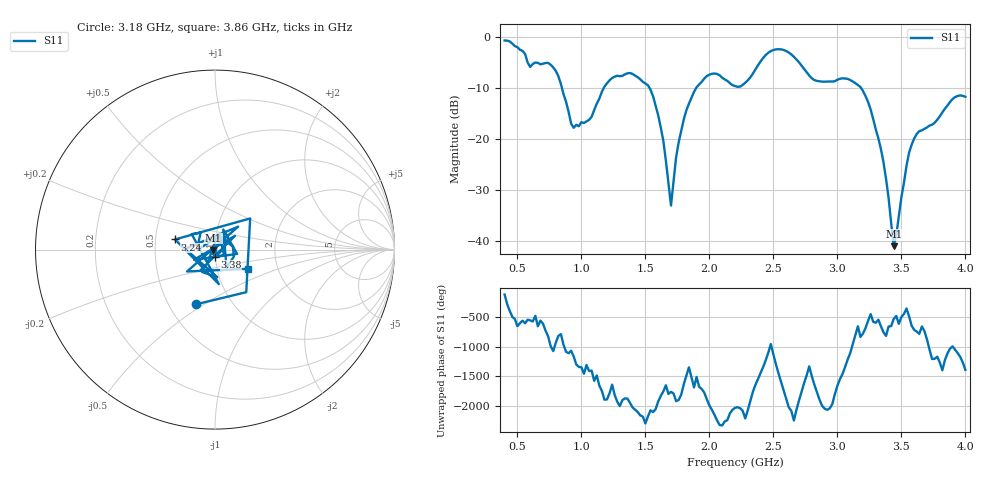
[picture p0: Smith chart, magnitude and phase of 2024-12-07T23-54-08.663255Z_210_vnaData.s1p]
!Created with skrf (http://scikit-rf.org).
# Hz S RI R 50.0
!freq ReS11 ImS11
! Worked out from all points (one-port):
!   181 points, 400 MHz to 4 GHz, reference 50 ohm
!   lowest |S11| = -41.0 dB at 3.44 GHz (marker M1), VSWR 1.02, Z = 49.1 - j0.23 ohm
!   |S11| at or under -10 dB: 847.5 MHz to 1.176 GHz (328.1 MHz wide, 32.4 % of centre); 1.531 GHz to 1.898 GHz (366.4 MHz wide, 21.4 % of centre); 3.184 GHz to end of sweep
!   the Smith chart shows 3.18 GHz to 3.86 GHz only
!   S11 on the Smith chart (normalised r, x): 3.18 GHz: 0.68, -0.46; 3.24 GHz: 0.63, +0.08; 3.38 GHz: 0.99, -0.08; 3.86 GHz: 1.41, -0.32
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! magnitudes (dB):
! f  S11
! 400 MHz  -0.7
! 600 MHz  -5.9
! 760 MHz  -5.5
! 860 MHz  -11.2
! 920 MHz  -17.0
! 980 MHz  -17.5
! 1.08 GHz  -15.7
! 1.2 GHz  -9.1
! 1.3 GHz  -7.7
! 1.54 GHz  -10.4
! 1.64 GHz  -20.4
! 1.7 GHz  -33.0
! 1.76 GHz  -20.7
! 1.84 GHz  -13.1
! 1.96 GHz  -8.2
! 2.2 GHz  -9.6
! 2.48 GHz  -2.8
! 2.66 GHz  -3.9
! 2.82 GHz  -8.5
! 3.1 GHz  -8.5
! 3.18 GHz  -9.8
! 3.24 GHz  -12.8
! 3.38 GHz  -27.8
! 3.44 GHz  -41.0
! 3.56 GHz  -22.7
! 3.62 GHz  -19.0
! 3.86 GHz  -13.5
! 4 GHz  -11.8
